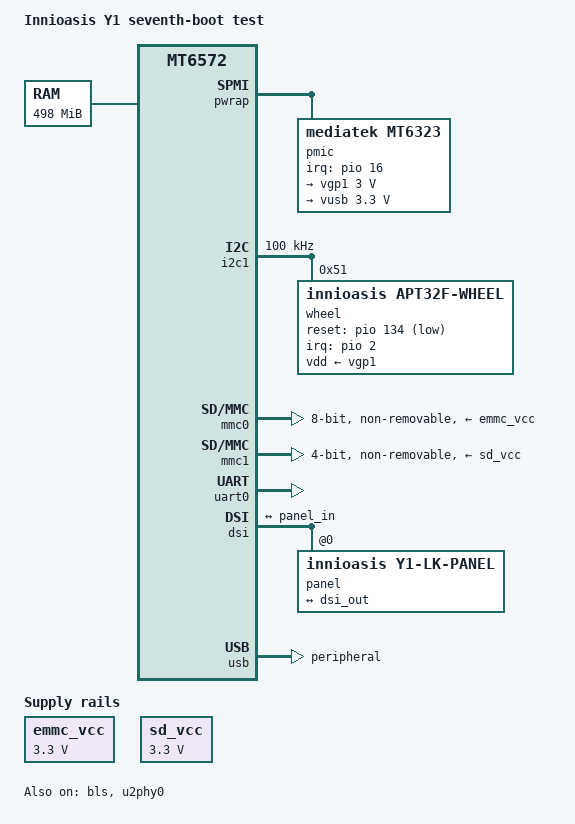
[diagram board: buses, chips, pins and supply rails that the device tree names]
// SPDX-License-Identifier: GPL-2.0-only
/*
 * Innioasis Y1 (MT6572) seventh-boot device tree (docs/planning/Y1-DISPLAY-PLAN.md, stage B): the
 * sixth-boot tree with the MediaTek DRM pipeline instead of LK's simple-framebuffer: OVL -> RDMA ->
 * COLOR -> BLS -> DSI with LK's panel adopted as initialised (no reset, no command, backlight untouched),
 * physical scan-out (no IOMMU).
 *
 * Sixth-boot description: the fifth-boot tree unchanged apart from the model; the register dump is in PID1.
 *
 * Fifth-boot description (docs/planning/Y1-CHARGING-PLAN.md, stage B): the
 * fourth-boot tree plus the MT6323 charger (the Y2's driver, PC port only, at most 450 mA, 4.175 V),
 * the Y1 USB budget source it charges from, and the PMIC wrapper's charger-block write policy.
 *
 * Third-boot description (docs/planning/Y1-THIRD-BOOT-PLAN.md): the second-boot
 * tree (clocks, pins, PMIC wrapper, read-only eMMC and microSD, wheel, centre button) plus USB in device
 * mode and the MT6323 AUXADC for read-only battery telemetry. Facts: docs/knowledge/y1-hardware.md.
 * Deliberately absent: power domains, display, audio, charger, USB host mode, every PMIC regulator but
 * VGP1 and VUSB (the two card supplies are fixed descriptions, not PMIC regulators).
 */
/dts-v1/;
#include <dt-bindings/gpio/gpio.h>
#include <dt-bindings/input/input.h>
#include "mt6572-fork.dtsi"

/ {
	model = "Innioasis Y1 seventh-boot test";
	compatible = "innioasis,y1", "mediatek,mt6572";

	aliases {
		serial0 = &uart0;
	};

	chosen {
		#address-cells = <1>;
		#size-cells = <1>;
		ranges;
		/* clk_ignore_unused: the clock driver must not gate the display clocks LK left running. */
		bootargs = "rdinit=/init earlycon console=ttyS0,921600n8 console=tty0 loglevel=8 ignore_loglevel panic=10 clk_ignore_unused";
		stdout-path = "serial0:921600n8";
	};

	/* As the first boot (confirmed there): stock System RAM; the 10 MiB at 0x9e000000 and the
	 * frame buffer stay out. */
	memory@80000000 {
		device_type = "memory";
		reg = <0x80000000 0x1e000000>, <0x9ea00000 0x01200000>;
	};

	/*
	 * Not PMIC regulators: fixed descriptions of the card rails LK leaves on (stock: VEMC_3V3 at 3.3 V),
	 * so mtk-sd knows their voltage. Without a vmmc supply it accepts no card voltage at all (second
	 * boot run 1: "no support for card's volts"). Linux switches nothing here.
	 */
	emmc_vcc: regulator-emmc-vcc {
		compatible = "regulator-fixed";
		regulator-name = "emmc-vcc";
		regulator-min-microvolt = <3300000>;
		regulator-max-microvolt = <3300000>;
		regulator-always-on;
	};

	/* The configured USB budget, reported by the gadget (kernel/y1/usb-source.c). */
	usb_input: usb-input {
		compatible = "innioasis,y1-usb-input";
	};

	sd_vcc: regulator-sd-vcc {
		compatible = "regulator-fixed";
		regulator-name = "sd-vcc";
		regulator-min-microvolt = <3300000>;
		regulator-max-microvolt = <3300000>;
		regulator-always-on;
	};
};

&pio {
	/* Stock 3.0.2 tpd_probe: GPIO136 mode 4 (EINT2), direction input, pull enabled and up. On paris
	 * input-enable sets only the input buffer; input-schmitt-enable is what sets the direction to input
	 * (run 3: "tried to flag a GPIO set as output for IRQ"). */
	wheel_pins: wheel-pins {
		pins-irq {
			pinmux = <MT6572_PIN_136_BPI_BUS6__FUNC_EINT2>;
			input-enable;
			input-schmitt-enable;
			bias-pull-up;
		};
	};
};

&pwrap {
	/* Charger block writes only within the Y2's reviewed fields and values (policy.h). */
	innioasis,pmic-charger-policy;

	/* Not upstream mt6323.dtsi: that describes every regulator, and Linux may switch off any described,
	 * unused one. Only the power key and VGP1 exist here; the others stay as LK left them. */
	pmic: pmic {
		compatible = "mediatek,mt6323";
		/* Stock PMIC_EINT_SETTING: EINT16, level, active high. */
		interrupt-parent = <&pio>;
		interrupts = <16 IRQ_TYPE_LEVEL_HIGH>;
		interrupt-controller;
		#interrupt-cells = <2>;

		/* Read-only telemetry; the Y1 adds the charger input (VCDT, channel 4). */
		pmic_adc: adc {
			compatible = "mediatek,mt6323-auxadc";
			#io-channel-cells = <1>;
			innioasis,charger-input;
		};

		/*
		 * The Y2's charger with Y1 limits: no BC1.1 (every source is a PC port; 450 mA only once a
		 * PC has configured the gadget, 70 mA otherwise); 4.175 V; PMIC die derating; the PMIC
		 * charger watchdog. No pack temperature (BATON does not respond, charging plan section 9) and no
		 * power-off-to-charger path (no innioasis,rgu: LK's charging mode is unverified on the Y1).
		 */
		charger {
			compatible = "innioasis,y2-mt6323-charger";
			io-channels = <&pmic_adc 7>, <&pmic_adc 5>, <&pmic_adc 6>, <&pmic_adc 3>;
			io-channel-names = "battery-voltage", "baton", "isense", "pmic-temperature";
			power-supplies = <&usb_input>;
			innioasis,usb-budget-source;
			innioasis,max-charge-current-microamp = <450000>;
		};

		keys {
			compatible = "mediatek,mt6323-keys";
			/* The centre button (the Y1 has no power button). */
			power {
				linux,keycodes = <KEY_ENTER>;
			};
		};

		regulators {
			compatible = "mediatek,mt6323-regulator";

			/* The wheel controller's supply; stock hwPowerOn(5, 3000, "TP"). */
			vgp1: ldo_vgp1 {
				regulator-name = "vgp1";
				regulator-min-microvolt = <3000000>;
				regulator-max-microvolt = <3000000>;
			};

			/* The USB PHY's analogue supply; stock hwPowerOn(1, 3300, "VUSB_LDO") at USB init and
			 * never switched off. */
			vusb: ldo_vusb {
				regulator-name = "vusb";
				regulator-min-microvolt = <3300000>;
				regulator-max-microvolt = <3300000>;
				regulator-always-on;
			};
		};
	};
};

&i2c1 {
	status = "okay";
	clock-frequency = <100000>;

	wheel@51 {
		compatible = "innioasis,apt32f-wheel";
		reg = <0x51>;
		pinctrl-names = "default";
		pinctrl-0 = <&wheel_pins>;
		interrupt-parent = <&pio>;
		interrupts = <2 IRQ_TYPE_EDGE_FALLING>;
		reset-gpios = <&pio 134 GPIO_ACTIVE_LOW>;
		vdd-supply = <&vgp1>;
		/* reg3 bits 0-3: bottom, right, top, left (owner's getevent of stock 3.0.2). */
		linux,keycodes = <KEY_PLAYPAUSE KEY_NEXTSONG KEY_BACK KEY_PREVIOUSSONG>;
	};
};

/*
 * Storage, read by the test PID1 only: no filesystem driver is built, PID1 sets each disk read-only
 * before reading. Conservative bus modes, no supplies (LK leaves them on), and empty pin states that
 * keep the preloader's pin setup (mtk-sd requires both states to exist).
 */
&mmc0 {
	status = "okay";
	vmmc-supply = <&emmc_vcc>;
	pinctrl-names = "default", "state_uhs";
	pinctrl-0;
	pinctrl-1;
	bus-width = <8>;
	max-frequency = <50000000>;
	cap-mmc-highspeed;
	non-removable;
	no-sd;
	no-sdio;
};

&mmc1 {
	status = "okay";
	vmmc-supply = <&sd_vcc>;
	pinctrl-names = "default", "state_uhs";
	pinctrl-0;
	pinctrl-1;
	bus-width = <4>;
	max-frequency = <50000000>;
	cap-sd-highspeed;
	/* Card-detect pin unknown: probe once at boot (broken-cd polled every second and flooded the
	 * screen in run 1). A card must be inserted before power-on. */
	non-removable;
	no-1-8-v;
	no-mmc;
	no-sdio;
};

&uart0 {
	status = "okay";
};

/* Display stage B: physical scan-out, as LK; no IOMMU driver is built. */
&ovl {
	/delete-property/ iommus;
};

&rdma0 {
	/delete-property/ iommus;
};

/* In the path as a pass-through; its PWM driver is not built and the backlight comes from the MT6323. */
&bls {
	status = "okay";
};

&dsi {
	status = "okay";
	#address-cells = <1>;
	#size-cells = <0>;

	/* 6.18's mtk_dsi_host_attach finds its panel only through an OF graph (seventh boot run 1:
	 * "error -19: DSI attach" with a bare child node). */
	port {
		dsi_out: endpoint {
			remote-endpoint = <&panel_in>;
		};
	};

	panel@0 {
		compatible = "innioasis,y1-lk-panel";
		reg = <0>;

		port {
			panel_in: endpoint {
				remote-endpoint = <&dsi_out>;
			};
		};
	};
};

/* Device mode only: no host mode, no role switch, nothing drives VBUS. PIO only (no DMA) by config. */
&usb {
	status = "okay";
	dr_mode = "peripheral";
};

&u2phy0 {
	status = "okay";
};

/*
 * Mainline's v1 T-PHY calibrates the slew rate with a frequency meter at sif + 0x100 (0x11110100); the
 * MT6572's meter is at 0x11110f00 (stock hs_slew_rate_cal). A fixed eye-src skips that calibration; 4
 * is what stock writes when its own calibration times out.
 */
&u2port0 {
	mediatek,eye-src = <4>;
	/* Third boot run 1: with only mainline's RG_VBUSVALID/RG_AVALID the controller stayed "not
	 * attached" while the PMIC measured 5.2 V on VCDT. Stock usb_phy_recover forces the whole session
	 * (U2PHYDTM1 |= 0x2e, SESSEND clear, force bits 9-13); patches-y1 0015 does the same on this flag. */
	innioasis,force-session-valid;
};
